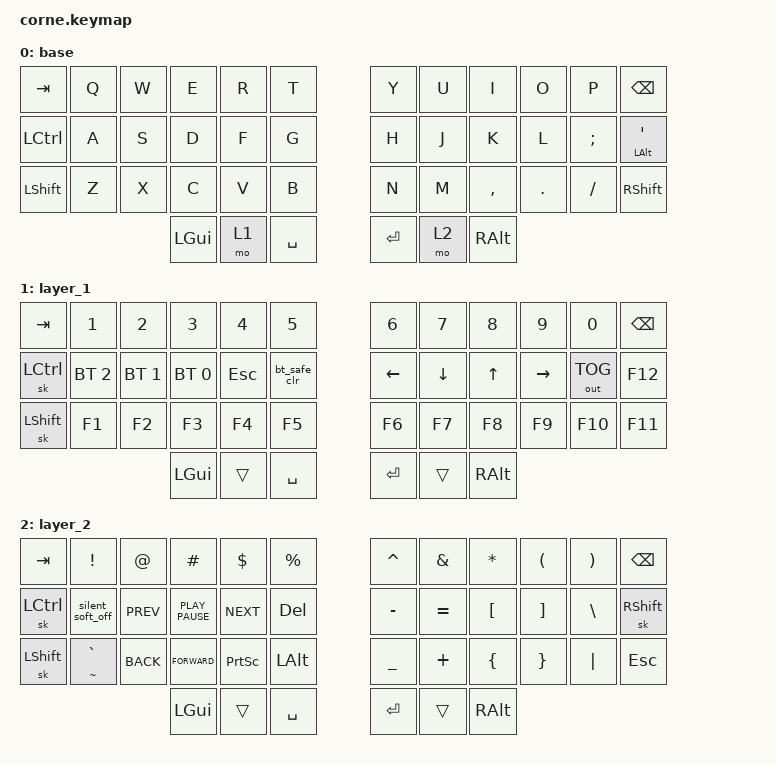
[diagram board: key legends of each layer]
#include <behaviors.dtsi>
#include <dt-bindings/zmk/bt.h>
#include <dt-bindings/zmk/keys.h>
#include <dt-bindings/zmk/outputs.h>

/ {
    behaviors {
        bt_safe_clr: bluetooth_safe_clear {
            compatible = "zmk,behavior-tap-dance";
            label = "BLUETOOTH_SAFE_CLEAR";
            #binding-cells = <0>;
            bindings = <&none>, <&none>, <&bt BT_CLR>;
        };

        silent_soft_off: silent_soft_off {
            compatible = "zmk,behavior-tap-dance";
            label = "SILENT_SOFT_OFF";
            #binding-cells = <0>;
            bindings = <&none>, <&none>, <&soft_off>;
        };
    };

    combos {
        compatible = "zmk,combos";

        ralt_space {
            bindings = <&kp SPACE>;
            key-positions = <38 41>;
        };
    };

    keymap {
        compatible = "zmk,keymap";

        base {
            bindings = <
                &kp TAB    &kp Q  &kp W  &kp E     &kp R  &kp T                     &kp Y    &kp U  &kp I      &kp O    &kp P     &kp BSPC
                &kp LCTRL  &kp A  &kp S  &kp D     &kp F  &kp G                     &kp H    &kp J  &kp K      &kp L    &kp SEMI  &mt LEFT_ALT SQT
                &kp LSHFT  &kp Z  &kp X  &kp C     &kp V  &kp B                     &kp N    &kp M  &kp COMMA  &kp DOT  &kp FSLH  &kp RSHIFT
                                         &kp LGUI  &mo 1  &kp SPACE                 &kp RET  &mo 2  &kp RALT
            >;
        };

        layer_1 {
            bindings = <
                &kp TAB    &kp N1         &kp N2        &kp N3        &kp N4        &kp N5                  &kp N6    &kp N7    &kp N8    &kp N9     &kp N0             &kp BSPC
                &sk LCTRL  &bt BT_SEL 2   &bt BT_SEL 1  &bt BT_SEL 0  &kp ESCAPE    &bt_safe_clr            &kp LEFT  &kp DOWN  &kp UP    &kp RIGHT  &out OUT_TOG       &kp F12
                &sk LSHFT  &kp F1         &kp F2        &kp F3        &kp F4        &kp F5                  &kp F6    &kp F7    &kp F8    &kp F9     &kp F10            &kp F11
                                                        &kp LGUI      &trans        &kp SPACE               &kp RET   &trans    &kp RALT
            >;
        };

        layer_2 {
            bindings = <
                &kp TAB    &kp EXCL         &kp AT      &kp HASH          &kp DLLR         &kp PRCNT                 &kp CARET  &kp AMPS   &kp ASTRK  &kp LPAR  &kp RPAR  &kp BSPC
                &sk LCTRL  &silent_soft_off &kp K_PREV  &kp K_PLAY_PAUSE  &kp K_NEXT       &kp DEL                   &kp MINUS  &kp EQUAL  &kp LBKT   &kp RBKT  &kp BSLH  &sk RIGHT_SHIFT
                &sk LSHFT  &mt TILDE GRAVE  &kp K_BACK  &kp K_FORWARD     &kp PRINTSCREEN  &kp LEFT_ALT              &kp UNDER  &kp PLUS   &kp LBRC   &kp RBRC  &kp PIPE  &kp ESCAPE
                                                        &kp LGUI          &trans           &kp SPACE                 &kp RET    &trans     &kp RALT
            >;
        };
    };
};

